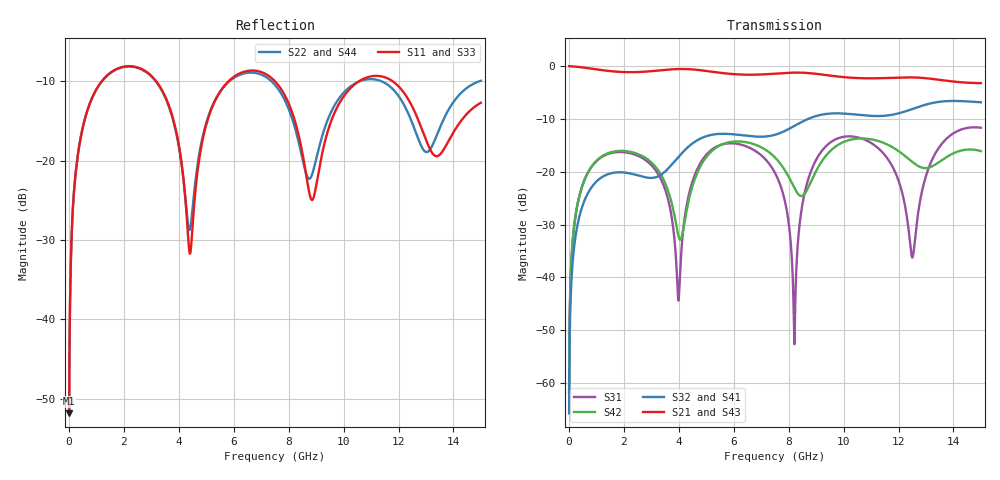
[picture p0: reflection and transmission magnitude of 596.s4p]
! Created with skrf 1.8.0 (http://scikit-rf.org).
# GHz S RI R 50.0
!freq ReS11 ImS11 ReS12 ImS12 ReS13 ImS13
! ReS14 ImS14
! ReS21 ImS21 ReS22 ImS22 ReS23 ImS23
! ReS24 ImS24
! ReS31 ImS31 ReS32 ImS32 ReS33 ImS33
! ReS34 ImS34
! ReS41 ImS41 ReS42 ImS42 ReS43 ImS43
! ReS44 ImS44
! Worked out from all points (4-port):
!   2499 points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, 5 MHz to 15 GHz, reference 50 ohm
!   strongest paths, dB at 5 MHz, 3.476 GHz, 7.19 GHz, 11.1 GHz, 15 GHz:
!     S21: 0.0, -0.7, -1.5, -2.3, -3.2
!     S43: 0.0, -0.7, -1.5, -2.3, -3.2
!     S32: -65.7, -20.1, -13.3, -9.4, -6.9
!     S41: -65.7, -20.1, -13.3, -9.5, -6.9
!     S42: -61.8, -21.8, -15.9, -14.0, -16.1
!     S31: -61.8, -23.0, -17.8, -14.9, -11.7
!   lowest |S11| = -51.8 dB at 5 MHz (marker M1), VSWR 1.01, Z = 50.2 + j0.155 ohm
!   |S11| at or under -10 dB: 3.18 GHz to 5.806 GHz (2.627 GHz wide, 58.5 % of centre); 7.504 GHz to 10.56 GHz (3.051 GHz wide, 33.8 % of centre); 11.79 GHz to end of sweep (the widest 3 of 4)
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0.005  0.00204 0.00155  0.9979 -0.00396  0.000104 0.000811  -0.000101 -0.000509
       0.9979 -0.00396  0.00204 0.00155  -0.000101 -0.000509  0.000104 0.000811
       0.000104 0.000811  -0.000101 -0.000509  0.00204 0.00155  0.9979 -0.00396
       -0.000101 -0.000509  0.000104 0.000811  0.9979 -0.00396  0.00204 0.00155
1.3193  0.2893 0.1692  0.5097 -0.7504  0.1306 0.0602  -0.0924 0.000198
        0.5097 -0.7504  0.2872 0.1708  -0.0925 0.000279  0.1366 0.0512
        0.1306 0.0602  -0.0925 0.000279  0.2892 0.1693  0.5097 -0.7503
        -0.0924 0.000198  0.1366 0.0512  0.5097 -0.7503  0.2872 0.1708
4.46436  0.0277 0.0148  -0.9311 -0.0122  0.0229 0.0725  0.00339 0.1826
         -0.9311 -0.0122  0.0388 0.0194  0.00473 0.1826  0.000753 0.0685
         0.0229 0.0725  0.00473 0.1826  0.0278 0.0162  -0.931 -0.012
         0.00339 0.1826  0.000753 0.0685  -0.931 -0.012  0.0386 0.021
7.184243  0.332 -0.1114  0.1995 0.8134  0.1045 -0.075  0.1915 -0.0986
          0.1995 0.8134  0.3217 -0.0963  0.1907 -0.1014  0.0914 -0.1312
          0.1045 -0.075  0.1907 -0.1014  0.3323 -0.1111  0.1982 0.8135
          0.1915 -0.0986  0.0914 -0.1312  0.1982 0.8135  0.3228 -0.096
8.209671  0.1172 -0.1392  0.7133 0.4931  -0.00231 -0.000319  0.1497 -0.2266
          0.7133 0.4931  0.1234 -0.1104  0.1465 -0.2288  -0.0536 -0.0455
          -0.00231 -0.000319  0.1465 -0.2288  0.1168 -0.1397  0.7122 0.4946
          0.1497 -0.2266  -0.0536 -0.0455  0.7122 0.4946  0.1244 -0.1099
11.45477  0.3321 -0.0601  -0.0365 -0.7688  0.1118 -0.0981  -0.3302 0.0657
          -0.0365 -0.7688  0.3066 -0.0588  -0.3302 0.0737  0.0969 -0.1609
          0.1118 -0.0981  -0.3302 0.0737  0.3319 -0.0531  -0.0319 -0.769
          -0.3302 0.0657  0.0969 -0.1609  -0.0319 -0.769  0.3079 -0.0629
15  0.2271 0.0463  -0.4057 0.5577  0.2483 -0.0801  0.3992 0.2148
    -0.4057 0.5577  0.3149 0.0513  0.4054 0.2054  0.1568 -0.00108
    0.2483 -0.0801  0.4054 0.2054  0.2227 0.0494  -0.4137 0.5526
    0.3992 0.2148  0.1568 -0.00108  -0.4137 0.5526  0.3153 0.0553
